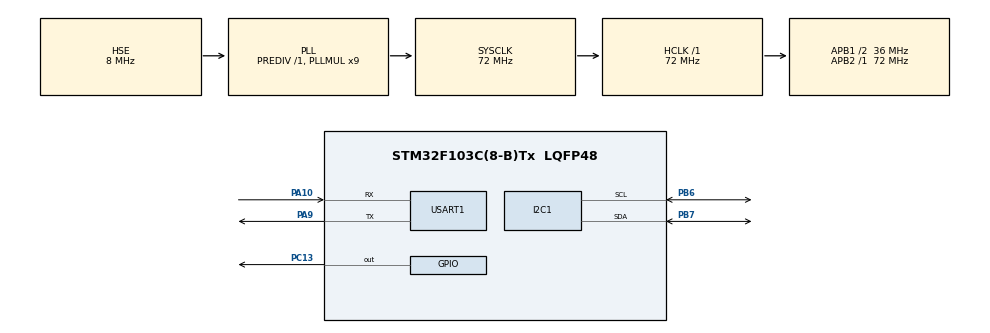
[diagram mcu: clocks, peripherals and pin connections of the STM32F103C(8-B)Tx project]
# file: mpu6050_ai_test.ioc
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I2C1.I2C_Mode=I2C_Fast
Mcu.Family=STM32F1
Mcu.Name=STM32F103C(8-B)Tx
Mcu.Package=LQFP48
NVIC.PriorityGroup=NVIC_PRIORITYGROUP_4
NVIC.TIM2_IRQn=true\:0\:0\:false\:false\:true\:true\:true\:true
NVIC.USART1_IRQn=true\:0\:0\:false\:false\:true\:true\:true\:true
PA10.Mode=Asynchronous
PA10.Signal=USART1_RX
PA13.Mode=Serial_Wire
PA13.Signal=SYS_JTMS-SWDIO
PA14.Mode=Serial_Wire
PA14.Signal=SYS_JTCK-SWCLK
PA9.Mode=Asynchronous
PA9.Signal=USART1_TX
PB6.Mode=I2C
PB6.Signal=I2C1_SCL
PB7.Mode=I2C
PB7.Signal=I2C1_SDA
PC13-TAMPER-RTC.Signal=GPIO_Output
PD0-OSC_IN.Mode=HSE-External-Oscillator
PD0-OSC_IN.Signal=RCC_OSC_IN
PD1-OSC_OUT.Mode=HSE-External-Oscillator
PD1-OSC_OUT.Signal=RCC_OSC_OUT
ProjectManager.HeapSize=0x200
ProjectManager.StackSize=0x400
ProjectManager.TargetToolchain=STM32CubeIDE
RCC.AHBFreq_Value=72000000
RCC.APB1CLKDivider=RCC_HCLK_DIV2
RCC.APB1Freq_Value=36000000
RCC.APB1TimFreq_Value=72000000
RCC.APB2Freq_Value=72000000
RCC.APB2TimFreq_Value=72000000
RCC.HCLKFreq_Value=72000000
RCC.PLLMUL=RCC_PLL_MUL9
RCC.PLLSourceVirtual=RCC_PLLSOURCE_HSE
RCC.SYSCLKFreq_VALUE=72000000
RCC.SYSCLKSource=RCC_SYSCLKSOURCE_PLLCLK
RCC.USBFreq_Value=72000000
TIM2.Period=999
TIM2.Prescaler=71
USART1.VirtualMode=VM_ASYNC
VP_TIM2_VS_ClockSourceINT.Mode=Internal
board=custom

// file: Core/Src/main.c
/* USER CODE BEGIN Header */
/**
  ******************************************************************************
  * @file           : main.c
  * @brief          : Main program body
  ******************************************************************************
  * @attention
  *
  * Copyright (c) 2026 STMicroelectronics.
  * All rights reserved.
  *
  * This software is licensed under terms that can be found in the LICENSE file
  * in the root directory of this software component.
  * If no LICENSE file comes with this software, it is provided AS-IS.
  *
  ******************************************************************************
  */
/* USER CODE END Header */
#include "main.h"
#include "i2c.h"
#include "tim.h"
#include "usart.h"
#include "gpio.h"

/* USER CODE BEGIN Includes */

#include "mpu6050.h"
#include "string.h"
#include "stdio.h"
#include "collector.h"
/* USER CODE END Includes */

/* USER CODE BEGIN PD */

/* 开机先自检多久（ms）：给串口助手/上位机一点时间，别让第一行字丢在半路 */
#define BOOT_SETTLE_MS      200U
/* 传感器初始化尝试次数 */
#define SENSOR_INIT_TRIES   3U

/* USER CODE END PD */

/* USER CODE BEGIN PV */

uint8_t rx_byte;                /* 串口命令接收字节 */
uint8_t g_sensor_ok = 0;        /* MPU6050 是否在线（1=在线） */
uint8_t g_clk_hsi = 0;          /* 1 = HSE 晶振没起来，已退回内部 HSI 64MHz */

/* USER CODE END PV */

void SystemClock_Config(void);

/* USER CODE BEGIN 0 */

/* 板载 LED：PC13，低电平点亮 */
static void led_write(GPIO_PinState state)
{
    HAL_GPIO_WritePin(GPIOC, GPIO_PIN_13, state);
}

/* 串口打印一行（不依赖 collector，开机早期就能用） */
static void say(const char *s)
{
    HAL_UART_Transmit(&huart1, (uint8_t *)s, strlen(s), 200);
}

/* USER CODE END 0 */

int main(void)
{

  /* MCU Configuration--------------------------------------------------------*/

  /* Reset of all peripherals, Initializes the Flash interface and the Systick. */
  HAL_Init();

  /* Configure the system clock */
  SystemClock_Config();

  /* Initialize all configured peripherals */
  MX_GPIO_Init();
  MX_I2C1_Init();
  MX_USART1_UART_Init();
  MX_TIM2_Init();
  /* USER CODE BEGIN 2 */

  /* ---- v4.1：HSE 回退时重算 TIM2 预分频，保证采样率仍是 1 kHz ----
   * tim.c 里的 PSC=71 是按 72 MHz 算的（72 MHz / 72 = 1 MHz，再 ARR=999 → 1 kHz）。
   * HSE 晶振起不来、回退到 HSI 64 MHz 时，若沿用 71 就变成 64 MHz/72/1000 ≈ 889 Hz，
   * 与数据集和文档声明的 1 kHz 不符。这里按实际 PCLK1 重算（64 MHz → PSC=63）。
   * 代码在 USER CODE 区，CubeMX 重新生成不会丢。 */
  if (g_clk_hsi) {
      uint32_t tim2_clk = HAL_RCC_GetPCLK1Freq() * 2U;   /* APB1 分频≠1 时定时器时钟 = PCLK1 × 2 */
      htim2.Init.Prescaler = (uint16_t)((tim2_clk / 1000000U) - 1U);
      if (HAL_TIM_Base_Init(&htim2) != HAL_OK) {
          Error_Handler();
      }
  }

  /* ============================================================
   * 开机自检（v4 核心改动）
   *
   * v3 的打印全部藏在 Collector_Init() 里，而 Collector_Init() 只有
   * MPU6050_Init() 成功时才会被调用 —— 传感器没接好，板子就"一声不吭"，
   * 用户没法区分"固件没跑"、"串口接错"和"传感器坏了"。v4 按下面顺序自检：
   *   1) 先证明 MCU + 时钟 + 串口活着（打印 + LED 闪 3 次）；
   *   2) 再初始化传感器，失败也照常进入命令循环，并明确打印原因；
   *   3) 传感器失败时 LED 保持常亮，给一个不用串口也能看的信号。
   * ============================================================ */
  HAL_Delay(BOOT_SETTLE_MS);

  say("\r\n=== MPU6050 AI Detector v4.1 ===\r\n");
  say("UART OK: USART1 PA9(TX)/PA10(RX) 115200 8N1\r\n");
  if (g_clk_hsi) {
      say("[CLK] HSE/8MHz crystal failed -> fallback to HSI 64MHz\r\n");
  } else {
      say("[CLK] HSE 8MHz -> PLL 72MHz\r\n");
  }

  /* LED 自检：闪 3 次。看到这 3 下，就说明 MCU 跑起来了、GPIO 没问题。 */
  for (uint8_t i = 0; i < 3U; i++) {
      led_write(GPIO_PIN_RESET);
      HAL_Delay(80);
      led_write(GPIO_PIN_SET);
      HAL_Delay(120);
  }
  say("[BOOT] LED selftest done (PC13), init MPU6050...\r\n");

  /* ---- 传感器初始化：最多试 3 次，失败之间做一次 I2C 总线自救 ---- */
  g_sensor_ok = 0;
  for (uint8_t attempt = 1U; attempt <= SENSOR_INIT_TRIES; attempt++) {
      g_sensor_ok = MPU6050_Init(&hi2c1);
      if (g_sensor_ok) {
          break;
      }
      char msg[96];
      sprintf(msg, "[I2C] MPU6050 no answer (%u/%u). check VCC/GND/SCL=PB6/SDA=PB7/AD0\r\n",
              (unsigned)attempt, (unsigned)SENSOR_INIT_TRIES);
      say(msg);
      MPU6050_BusRecover(&hi2c1);     /* 掉电重启后从机把 SDA 拉死是常见故障 */
      HAL_Delay(100);
  }

  if (g_sensor_ok) {
      char msg[64];
      sprintf(msg, "[I2C] MPU6050 OK, WHO_AM_I=0x%02X\r\n", (unsigned)MPU6050_GetWhoAmI());
      say(msg);
  } else {
      /* 没找到传感器：命令行仍然可用，LED 常亮当"故障灯" */
      say("[I2C] MPU6050 NOT FOUND. CLI stays alive; s/r/d only report the error.\r\n");
      say("[I2C] wiring: VCC=3.3V, GND=GND, SCL=PB6, SDA=PB7, AD0->GND (addr 0x68)\r\n");
  }

  /* 采集器/AI 库初始化：无论传感器在不在都要跑，保证串口命令有问必答 */
  Collector_Init(&htim2, &huart1, &hi2c1, g_sensor_ok);
  HAL_UART_Receive_IT(&huart1, &rx_byte, 1);

  /* 传感器缺失 -> LED 常亮（低电平点亮），拔掉串口也能一眼看出问题 */
  if (!g_sensor_ok) {
      led_write(GPIO_PIN_RESET);
  }

  /* USER CODE END 2 */

  /* Infinite loop */
  /* USER CODE BEGIN WHILE */
  while (1)
  {
	  Collector_Process();   /* 采样/录制/输出状态机 */
    /* USER CODE END WHILE */

  }
}

void SystemClock_Config(void)
{
  RCC_OscInitTypeDef RCC_OscInitStruct = {0};
  RCC_ClkInitTypeDef RCC_ClkInitStruct = {0};

  /** Initializes the RCC Oscillators according to the specified parameters
  * in the RCC_OscInitTypeDef structure.
  */
  RCC_OscInitStruct.OscillatorType = RCC_OSCILLATORTYPE_HSE;
  RCC_OscInitStruct.HSEState = RCC_HSE_ON;
  RCC_OscInitStruct.HSEPredivValue = RCC_HSE_PREDIV_DIV1;
  RCC_OscInitStruct.HSIState = RCC_HSI_ON;
  RCC_OscInitStruct.PLL.PLLState = RCC_PLL_ON;
  RCC_OscInitStruct.PLL.PLLSource = RCC_PLLSOURCE_HSE;
  RCC_OscInitStruct.PLL.PLLMUL = RCC_PLL_MUL9;
  if (HAL_RCC_OscConfig(&RCC_OscInitStruct) != HAL_OK)
  {
    /* ---- HSE 失败：退回 HSI/2 * 16 = 64MHz，至少让串口能说话 ---- */
    RCC_OscInitTypeDef RCC_OscHsi = {0};
    RCC_OscHsi.OscillatorType = RCC_OSCILLATORTYPE_HSI;
    RCC_OscHsi.HSIState = RCC_HSI_ON;
    RCC_OscHsi.HSICalibrationValue = RCC_HSICALIBRATION_DEFAULT;
    RCC_OscHsi.PLL.PLLState = RCC_PLL_ON;
    RCC_OscHsi.PLL.PLLSource = RCC_PLLSOURCE_HSI_DIV2;
    RCC_OscHsi.PLL.PLLMUL = RCC_PLL_MUL16;
    if (HAL_RCC_OscConfig(&RCC_OscHsi) != HAL_OK)
    {
      Error_Handler();      /* 连 HSI 都起不来：只能靠 LED 快闪报错 */
    }
    g_clk_hsi = 1;
  }

  /** Initializes the CPU, AHB and APB buses clocks
  */
  RCC_ClkInitStruct.ClockType = RCC_CLOCKTYPE_HCLK|RCC_CLOCKTYPE_SYSCLK
                              |RCC_CLOCKTYPE_PCLK1|RCC_CLOCKTYPE_PCLK2;
  RCC_ClkInitStruct.SYSCLKSource = RCC_SYSCLKSOURCE_PLLCLK;
  RCC_ClkInitStruct.AHBCLKDivider = RCC_SYSCLK_DIV1;
  RCC_ClkInitStruct.APB1CLKDivider = RCC_HCLK_DIV2;
  RCC_ClkInitStruct.APB2CLKDivider = RCC_HCLK_DIV1;

  if (HAL_RCC_ClockConfig(&RCC_ClkInitStruct, FLASH_LATENCY_2) != HAL_OK)
  {
    Error_Handler();
  }
}

/* USER CODE BEGIN 4 */

void HAL_TIM_PeriodElapsedCallback(TIM_HandleTypeDef *htim)
{
    if (htim->Instance == TIM2) {
        Collector_OnTick();
    }
}

void HAL_UART_RxCpltCallback(UART_HandleTypeDef *huart)
{
    if (huart->Instance == USART1) {
        Collector_HandleCmd(rx_byte);
        HAL_UART_Receive_IT(&huart1, &rx_byte, 1);  /* 继续接收下一个命令 */
    }
}

/* USER CODE END 4 */

void Error_Handler(void)
{
  /* USER CODE BEGIN Error_Handler_Debug */
  GPIO_InitTypeDef gpio = {0};

  __HAL_RCC_GPIOC_CLK_ENABLE();
  gpio.Pin   = GPIO_PIN_13;
  gpio.Mode  = GPIO_MODE_OUTPUT_PP;
  gpio.Pull  = GPIO_NOPULL;
  gpio.Speed = GPIO_SPEED_FREQ_LOW;
  HAL_GPIO_Init(GPIOC, &gpio);

  __enable_irq();          /* HAL_Delay 依赖 SysTick 中断 */

  while (1)
  {
    HAL_GPIO_TogglePin(GPIOC, GPIO_PIN_13);
    HAL_Delay(100);        /* 5Hz 快闪 = 启动失败 */
  }
  /* USER CODE END Error_Handler_Debug */
}
